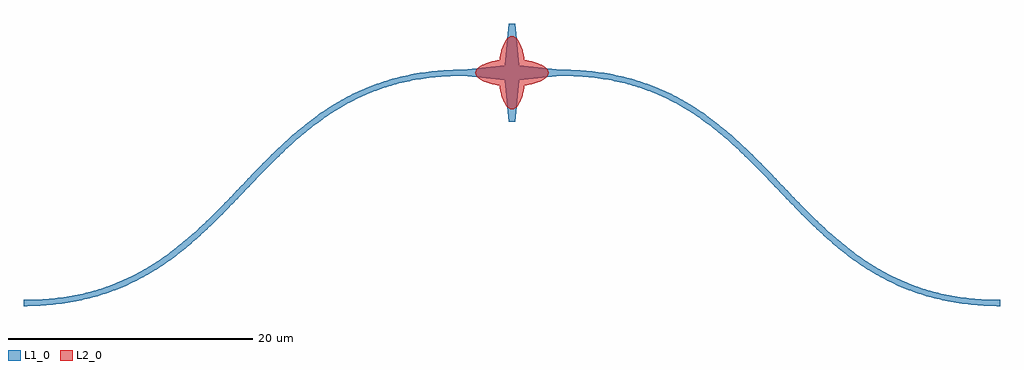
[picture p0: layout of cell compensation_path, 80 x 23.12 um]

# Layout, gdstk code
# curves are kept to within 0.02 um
from math import pi, radians
import gdstk
lib = gdstk.Library(unit=1e-6, precision=1e-09)
def P(c, l, *ps):  # polygons
    for p in ps: c.add(gdstk.Polygon(p, *l))
L1_0 = (1, 0)
L2_0 = (2, 0)

crossing = lib.new_cell('crossing')
P(crossing, L1_0, [(-4,0.25),(-0.6,0.6),(0.6,0.6),(4,0.25),(4,-0.25),(0.6,-0.6),(-0.6,-0.6),(-4,-0.25)],
  [(-0.25,-4),(-0.6,-0.6),(-0.6,0.6),(-0.25,4),(0.25,4),(0.6,0.6),(0.6,-0.6),(0.25,-4)])
P(crossing, L2_0, [(3,0),(2.979,0.13),(2.824,0.372),(2.567,0.569),(2.129,0.775),(1.728,0.899),(1.201,1.008),(0.621,1.076),(0.048,1.1),(-0.45,1.088),(-1.115,1.021),(-1.608,0.929),(-2.129,0.775),(-2.567,0.569),(-2.824,0.372),(-2.979,0.13),(-3,0),(-2.979,-0.13),(-2.824,-0.372),(-2.567,-0.569),(-2.129,-0.775),(-1.728,-0.899),(-1.201,-1.008),(-0.621,-1.076),(-0.048,-1.1),(0.45,-1.088),(1.115,-1.021),(1.608,-0.929),(2.129,-0.775),(2.567,-0.569),(2.824,-0.372),(2.979,-0.13)],
  [(0,3),(-0.13,2.979),(-0.372,2.824),(-0.569,2.567),(-0.775,2.129),(-0.899,1.728),(-1.008,1.201),(-1.076,0.621),(-1.1,0.048),(-1.088,-0.45),(-1.021,-1.115),(-0.929,-1.608),(-0.775,-2.129),(-0.569,-2.567),(-0.372,-2.824),(-0.13,-2.979),(0,-3),(0.13,-2.979),(0.372,-2.824),(0.569,-2.567),(0.775,-2.129),(0.899,-1.728),(1.008,-1.201),(1.076,-0.621),(1.1,-0.048),(1.088,0.45),(1.021,1.115),(0.929,1.608),(0.775,2.129),(0.569,2.567),(0.372,2.824),(0.13,2.979)])

bezier_control_points0__ = lib.new_cell('bezier_control_points0__37266b3e')
P(bezier_control_points0__, L1_0, [(0,0.25),(1.556,0.299),(3.02,0.443),(4.399,0.676),(5.697,0.991),(7.12,1.454),(8.267,1.926),(9.354,2.462),(10.554,3.16),(11.372,3.701),(12.469,4.512),(13.37,5.251),(14.242,6.022),(15.92,7.642),(20.141,11.995),(21.276,13.082),(22.305,13.999),(23.379,14.872),(24.507,15.692),(25.524,16.344),(26.593,16.944),(27.719,17.484),(28.706,17.884),(29.953,18.298),(31.048,18.584),(32.197,18.813),(33.403,18.981),(34.67,19.084),(36,19.119),(36,18.619),(34.194,18.552),(32.511,18.358),(30.943,18.046),(29.478,17.626),(28.491,17.265),(27.365,16.771),(26.296,16.215),(25.28,15.604),(24.309,14.942),(23.531,14.357),(22.63,13.618),(21.615,12.715),(19.806,10.949),(15.859,6.874),(14.724,5.787),(13.695,4.87),(12.621,3.997),(11.493,3.177),(10.476,2.525),(9.407,1.925),(8.087,1.301),(6.886,0.839),(5.396,0.392),(4.037,0.097),(3.086,-0.052),(2.098,-0.161),(1.069,-0.227),(0,-0.25)])

compensation_path = lib.new_cell('compensation_path')
compensation_path.add(gdstk.Reference(crossing, (0,0)))
compensation_path.add(gdstk.Reference(bezier_control_points0__, (-40,-18.869)))
compensation_path.add(gdstk.Reference(bezier_control_points0__, (40,-18.869), rotation=pi, x_reflection=True))

lib.write_gds('compensation_path.gds')
